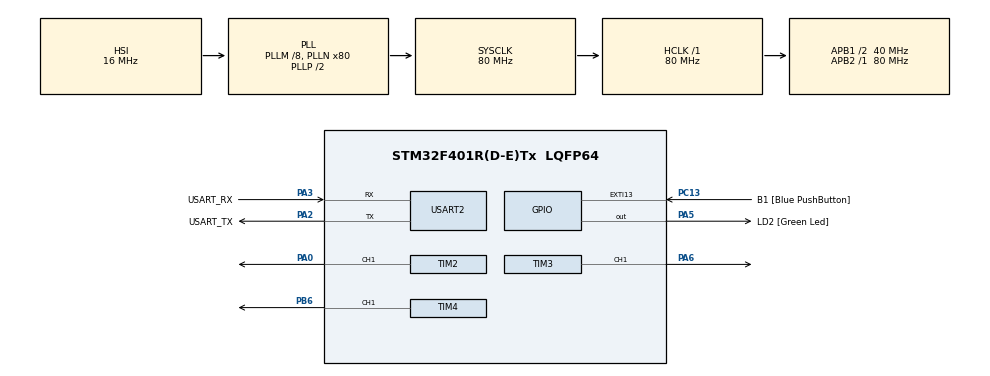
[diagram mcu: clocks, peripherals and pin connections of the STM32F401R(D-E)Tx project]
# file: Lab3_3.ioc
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Mcu.Family=STM32F4
Mcu.Name=STM32F401R(D-E)Tx
Mcu.Package=LQFP64
NVIC.EXTI15_10_IRQn=true\:0\:0\:false\:false\:true\:true\:true
NVIC.PriorityGroup=NVIC_PRIORITYGROUP_0
NVIC.TIM2_IRQn=true\:0\:0\:false\:false\:true\:true\:true
NVIC.TIM3_IRQn=true\:0\:0\:false\:false\:true\:true\:true
NVIC.TIM4_IRQn=true\:0\:0\:false\:false\:true\:true\:true
PA0-WKUP.Signal=S_TIM2_CH1_ETR
PA13.GPIO_Label=TMS
PA13.Mode=Serial_Wire
PA13.Signal=SYS_JTMS-SWDIO
PA14.GPIO_Label=TCK
PA14.Mode=Serial_Wire
PA14.Signal=SYS_JTCK-SWCLK
PA2.GPIO_Label=USART_TX
PA2.GPIO_Mode=GPIO_MODE_AF_PP
PA2.GPIO_PuPd=GPIO_NOPULL
PA2.GPIO_Speed=GPIO_SPEED_FREQ_LOW
PA2.Mode=Asynchronous
PA2.Signal=USART2_TX
PA3.GPIO_Label=USART_RX
PA3.GPIO_Mode=GPIO_MODE_AF_PP
PA3.GPIO_PuPd=GPIO_NOPULL
PA3.GPIO_Speed=GPIO_SPEED_FREQ_LOW
PA3.Mode=Asynchronous
PA3.Signal=USART2_RX
PA5.GPIO_Label=LD2 [Green Led]
PA5.GPIO_Mode=GPIO_MODE_OUTPUT_PP
PA5.GPIO_PuPd=GPIO_NOPULL
PA5.GPIO_Speed=GPIO_SPEED_FREQ_LOW
PA5.Signal=GPIO_Output
PA6.Signal=S_TIM3_CH1
PB3.GPIO_Label=SWO
PB3.Signal=SYS_JTDO-SWO
PB6.Signal=S_TIM4_CH1
PC13-ANTI_TAMP.GPIO_Label=B1 [Blue PushButton]
PC13-ANTI_TAMP.GPIO_ModeDefaultEXTI=GPIO_MODE_IT_FALLING
PC13-ANTI_TAMP.GPIO_PuPd=GPIO_NOPULL
PC13-ANTI_TAMP.Signal=GPXTI13
PC14-OSC32_IN.Mode=LSE-External-Oscillator
PC14-OSC32_IN.Signal=RCC_OSC32_IN
PC15-OSC32_OUT.Mode=LSE-External-Oscillator
PC15-OSC32_OUT.Signal=RCC_OSC32_OUT
PH0\ -\ OSC_IN.Mode=HSE-External-Clock-Source
PH0\ -\ OSC_IN.Signal=RCC_OSC_IN
PH1\ -\ OSC_OUT.Mode=HSE-External-Clock-Source
PH1\ -\ OSC_OUT.Signal=RCC_OSC_OUT
ProjectManager.HeapSize=0x200
ProjectManager.StackSize=0x400
ProjectManager.TargetToolchain=STM32CubeIDE
RCC.48MHZClocksFreq_Value=22857142.85714286
RCC.AHBFreq_Value=80000000
RCC.APB1CLKDivider=RCC_HCLK_DIV2
RCC.APB1Freq_Value=40000000
RCC.APB1TimFreq_Value=80000000
RCC.APB2Freq_Value=80000000
RCC.APB2TimFreq_Value=80000000
RCC.CortexFreq_Value=80000000
RCC.HCLKFreq_Value=80000000
RCC.HSE_VALUE=8000000
RCC.HSI_VALUE=16000000
RCC.PLLM=8
RCC.PLLN=80
RCC.PLLQ=7
RCC.SYSCLKFreq_VALUE=80000000
RCC.SYSCLKSource=RCC_SYSCLKSOURCE_PLLCLK
RCC.VCOOutputFreq_Value=160000000
SH.S_TIM2_CH1_ETR.0=TIM2_CH1,PWM Generation1 CH1
SH.S_TIM3_CH1.0=TIM3_CH1,PWM Generation1 CH1
SH.S_TIM4_CH1.0=TIM4_CH1,PWM Generation1 CH1
TIM2.AutoReloadPreload=TIM_AUTORELOAD_PRELOAD_DISABLE
TIM2.Channel-PWM\ Generation1\ CH1=TIM_CHANNEL_1
TIM2.Period=5000-1
TIM2.Prescaler=8000-1
TIM3.AutoReloadPreload=TIM_AUTORELOAD_PRELOAD_DISABLE
TIM3.Channel-PWM\ Generation1\ CH1=TIM_CHANNEL_1
TIM3.Period=4905-1
TIM3.Prescaler=8000-1
TIM4.AutoReloadPreload=TIM_AUTORELOAD_PRELOAD_DISABLE
TIM4.Channel-PWM\ Generation1\ CH1=TIM_CHANNEL_1
TIM4.Period=9999-1
TIM4.Prescaler=8000-1
USART2.VirtualMode=VM_ASYNC
VP_TIM2_VS_ClockSourceINT.Mode=Internal
VP_TIM3_VS_ClockSourceINT.Mode=Internal
VP_TIM4_VS_ClockSourceINT.Mode=Internal
board=NUCLEO-F401RE

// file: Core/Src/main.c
/* USER CODE BEGIN Header */
/**
  ******************************************************************************
  * @file           : main.c
  * @brief          : Main program body
  ******************************************************************************
  * @attention
  *
  * Copyright (c) 2022 STMicroelectronics.
  * All rights reserved.
  *
  * This software is licensed under terms that can be found in the LICENSE file
  * in the root directory of this software component.
  * If no LICENSE file comes with this software, it is provided AS-IS.
  *
  ******************************************************************************
  */
/* USER CODE END Header */
#include "main.h"

TIM_HandleTypeDef htim2;
TIM_HandleTypeDef htim3;
TIM_HandleTypeDef htim4;

UART_HandleTypeDef huart2;

void SystemClock_Config(void);
static void MX_GPIO_Init(void);
static void MX_USART2_UART_Init(void);
static void MX_TIM2_Init(void);
static void MX_TIM3_Init(void);
static void MX_TIM4_Init(void);

/* USER CODE BEGIN 0 */

int counterR = 0; //500ms period
int counterG = 0; //490.5ms period

char r[4] = "RED ";
char g[6] = "GREEN ";

void HAL_TIM_PeriodElapsedCallback(TIM_HandleTypeDef *htim) {
	if (htim->Instance == TIM2) {
		counterR++;
		//HAL_UART_Transmit(&huart2, &r, sizeof(r), HAL_MAX_DELAY);
	}
	if (htim->Instance == TIM3) {
		counterG++;
		HAL_GPIO_TogglePin(LD2_GPIO_Port,LD2_Pin);
		//HAL_UART_Transmit(&huart2, &g, sizeof(g), HAL_MAX_DELAY);
	}
	if (htim->Instance == TIM4) {
		char buffer[20];
		sprintf(buffer, "%d %d\r\n", counterR, counterG);
		HAL_UART_Transmit(&huart2, &buffer, strlen(buffer), HAL_MAX_DELAY);
	}
}

/* USER CODE END 0 */

int main(void)
{

  /* MCU Configuration--------------------------------------------------------*/

  /* Reset of all peripherals, Initializes the Flash interface and the Systick. */
  HAL_Init();

  /* Configure the system clock */
  SystemClock_Config();

  /* Initialize all configured peripherals */
  MX_GPIO_Init();
  MX_USART2_UART_Init();
  MX_TIM2_Init();
  MX_TIM3_Init();
  MX_TIM4_Init();
  /* USER CODE BEGIN 2 */
  HAL_TIM_Base_Start_IT(&htim2);
  HAL_TIM_Base_Start_IT(&htim3);
  HAL_TIM_Base_Start_IT(&htim4);
  /* USER CODE END 2 */

  /* Infinite loop */
  while (1)
  {

  }
}

void SystemClock_Config(void)
{
  RCC_OscInitTypeDef RCC_OscInitStruct = {0};
  RCC_ClkInitTypeDef RCC_ClkInitStruct = {0};

  /** Configure the main internal regulator output voltage
  */
  __HAL_RCC_PWR_CLK_ENABLE();
  __HAL_PWR_VOLTAGESCALING_CONFIG(PWR_REGULATOR_VOLTAGE_SCALE2);
  /** Initializes the RCC Oscillators according to the specified parameters
  * in the RCC_OscInitTypeDef structure.
  */
  RCC_OscInitStruct.OscillatorType = RCC_OSCILLATORTYPE_HSI;
  RCC_OscInitStruct.HSIState = RCC_HSI_ON;
  RCC_OscInitStruct.HSICalibrationValue = RCC_HSICALIBRATION_DEFAULT;
  RCC_OscInitStruct.PLL.PLLState = RCC_PLL_ON;
  RCC_OscInitStruct.PLL.PLLSource = RCC_PLLSOURCE_HSI;
  RCC_OscInitStruct.PLL.PLLM = 8;
  RCC_OscInitStruct.PLL.PLLN = 80;
  RCC_OscInitStruct.PLL.PLLP = RCC_PLLP_DIV2;
  RCC_OscInitStruct.PLL.PLLQ = 7;
  if (HAL_RCC_OscConfig(&RCC_OscInitStruct) != HAL_OK)
  {
    Error_Handler();
  }
  /** Initializes the CPU, AHB and APB buses clocks
  */
  RCC_ClkInitStruct.ClockType = RCC_CLOCKTYPE_HCLK|RCC_CLOCKTYPE_SYSCLK
                              |RCC_CLOCKTYPE_PCLK1|RCC_CLOCKTYPE_PCLK2;
  RCC_ClkInitStruct.SYSCLKSource = RCC_SYSCLKSOURCE_PLLCLK;
  RCC_ClkInitStruct.AHBCLKDivider = RCC_SYSCLK_DIV1;
  RCC_ClkInitStruct.APB1CLKDivider = RCC_HCLK_DIV2;
  RCC_ClkInitStruct.APB2CLKDivider = RCC_HCLK_DIV1;

  if (HAL_RCC_ClockConfig(&RCC_ClkInitStruct, FLASH_LATENCY_2) != HAL_OK)
  {
    Error_Handler();
  }
}

static void MX_TIM2_Init(void)
{

  TIM_ClockConfigTypeDef sClockSourceConfig = {0};
  TIM_MasterConfigTypeDef sMasterConfig = {0};
  TIM_OC_InitTypeDef sConfigOC = {0};

  htim2.Instance = TIM2;
  htim2.Init.Prescaler = 8000-1;
  htim2.Init.CounterMode = TIM_COUNTERMODE_UP;
  htim2.Init.Period = 5000-1;
  htim2.Init.ClockDivision = TIM_CLOCKDIVISION_DIV1;
  htim2.Init.AutoReloadPreload = TIM_AUTORELOAD_PRELOAD_DISABLE;
  if (HAL_TIM_Base_Init(&htim2) != HAL_OK)
  {
    Error_Handler();
  }
  sClockSourceConfig.ClockSource = TIM_CLOCKSOURCE_INTERNAL;
  if (HAL_TIM_ConfigClockSource(&htim2, &sClockSourceConfig) != HAL_OK)
  {
    Error_Handler();
  }
  if (HAL_TIM_PWM_Init(&htim2) != HAL_OK)
  {
    Error_Handler();
  }
  sMasterConfig.MasterOutputTrigger = TIM_TRGO_RESET;
  sMasterConfig.MasterSlaveMode = TIM_MASTERSLAVEMODE_DISABLE;
  if (HAL_TIMEx_MasterConfigSynchronization(&htim2, &sMasterConfig) != HAL_OK)
  {
    Error_Handler();
  }
  sConfigOC.OCMode = TIM_OCMODE_PWM1;
  sConfigOC.Pulse = 0;
  sConfigOC.OCPolarity = TIM_OCPOLARITY_HIGH;
  sConfigOC.OCFastMode = TIM_OCFAST_DISABLE;
  if (HAL_TIM_PWM_ConfigChannel(&htim2, &sConfigOC, TIM_CHANNEL_1) != HAL_OK)
  {
    Error_Handler();
  }
  HAL_TIM_MspPostInit(&htim2);

}

static void MX_TIM3_Init(void)
{

  TIM_ClockConfigTypeDef sClockSourceConfig = {0};
  TIM_MasterConfigTypeDef sMasterConfig = {0};
  TIM_OC_InitTypeDef sConfigOC = {0};

  htim3.Instance = TIM3;
  htim3.Init.Prescaler = 8000-1;
  htim3.Init.CounterMode = TIM_COUNTERMODE_UP;
  htim3.Init.Period = 4905-1;
  htim3.Init.ClockDivision = TIM_CLOCKDIVISION_DIV1;
  htim3.Init.AutoReloadPreload = TIM_AUTORELOAD_PRELOAD_DISABLE;
  if (HAL_TIM_Base_Init(&htim3) != HAL_OK)
  {
    Error_Handler();
  }
  sClockSourceConfig.ClockSource = TIM_CLOCKSOURCE_INTERNAL;
  if (HAL_TIM_ConfigClockSource(&htim3, &sClockSourceConfig) != HAL_OK)
  {
    Error_Handler();
  }
  if (HAL_TIM_PWM_Init(&htim3) != HAL_OK)
  {
    Error_Handler();
  }
  sMasterConfig.MasterOutputTrigger = TIM_TRGO_RESET;
  sMasterConfig.MasterSlaveMode = TIM_MASTERSLAVEMODE_DISABLE;
  if (HAL_TIMEx_MasterConfigSynchronization(&htim3, &sMasterConfig) != HAL_OK)
  {
    Error_Handler();
  }
  sConfigOC.OCMode = TIM_OCMODE_PWM1;
  sConfigOC.Pulse = 0;
  sConfigOC.OCPolarity = TIM_OCPOLARITY_HIGH;
  sConfigOC.OCFastMode = TIM_OCFAST_DISABLE;
  if (HAL_TIM_PWM_ConfigChannel(&htim3, &sConfigOC, TIM_CHANNEL_1) != HAL_OK)
  {
    Error_Handler();
  }
  HAL_TIM_MspPostInit(&htim3);

}

static void MX_TIM4_Init(void)
{

  TIM_ClockConfigTypeDef sClockSourceConfig = {0};
  TIM_MasterConfigTypeDef sMasterConfig = {0};
  TIM_OC_InitTypeDef sConfigOC = {0};

  htim4.Instance = TIM4;
  htim4.Init.Prescaler = 8000-1;
  htim4.Init.CounterMode = TIM_COUNTERMODE_UP;
  htim4.Init.Period = 9999-1;
  htim4.Init.ClockDivision = TIM_CLOCKDIVISION_DIV1;
  htim4.Init.AutoReloadPreload = TIM_AUTORELOAD_PRELOAD_DISABLE;
  if (HAL_TIM_Base_Init(&htim4) != HAL_OK)
  {
    Error_Handler();
  }
  sClockSourceConfig.ClockSource = TIM_CLOCKSOURCE_INTERNAL;
  if (HAL_TIM_ConfigClockSource(&htim4, &sClockSourceConfig) != HAL_OK)
  {
    Error_Handler();
  }
  if (HAL_TIM_PWM_Init(&htim4) != HAL_OK)
  {
    Error_Handler();
  }
  sMasterConfig.MasterOutputTrigger = TIM_TRGO_RESET;
  sMasterConfig.MasterSlaveMode = TIM_MASTERSLAVEMODE_DISABLE;
  if (HAL_TIMEx_MasterConfigSynchronization(&htim4, &sMasterConfig) != HAL_OK)
  {
    Error_Handler();
  }
  sConfigOC.OCMode = TIM_OCMODE_PWM1;
  sConfigOC.Pulse = 0;
  sConfigOC.OCPolarity = TIM_OCPOLARITY_HIGH;
  sConfigOC.OCFastMode = TIM_OCFAST_DISABLE;
  if (HAL_TIM_PWM_ConfigChannel(&htim4, &sConfigOC, TIM_CHANNEL_1) != HAL_OK)
  {
    Error_Handler();
  }
  HAL_TIM_MspPostInit(&htim4);

}

static void MX_USART2_UART_Init(void)
{

  huart2.Instance = USART2;
  huart2.Init.BaudRate = 115200;
  huart2.Init.WordLength = UART_WORDLENGTH_8B;
  huart2.Init.StopBits = UART_STOPBITS_1;
  huart2.Init.Parity = UART_PARITY_NONE;
  huart2.Init.Mode = UART_MODE_TX_RX;
  huart2.Init.HwFlowCtl = UART_HWCONTROL_NONE;
  huart2.Init.OverSampling = UART_OVERSAMPLING_16;
  if (HAL_UART_Init(&huart2) != HAL_OK)
  {
    Error_Handler();
  }

}

static void MX_GPIO_Init(void)
{
  GPIO_InitTypeDef GPIO_InitStruct = {0};

  /* GPIO Ports Clock Enable */
  __HAL_RCC_GPIOC_CLK_ENABLE();
  __HAL_RCC_GPIOH_CLK_ENABLE();
  __HAL_RCC_GPIOA_CLK_ENABLE();
  __HAL_RCC_GPIOB_CLK_ENABLE();

  /*Configure GPIO pin Output Level */
  HAL_GPIO_WritePin(LD2_GPIO_Port, LD2_Pin, GPIO_PIN_RESET);

  /*Configure GPIO pin : B1_Pin */
  GPIO_InitStruct.Pin = B1_Pin;
  GPIO_InitStruct.Mode = GPIO_MODE_IT_FALLING;
  GPIO_InitStruct.Pull = GPIO_NOPULL;
  HAL_GPIO_Init(B1_GPIO_Port, &GPIO_InitStruct);

  /*Configure GPIO pin : LD2_Pin */
  GPIO_InitStruct.Pin = LD2_Pin;
  GPIO_InitStruct.Mode = GPIO_MODE_OUTPUT_PP;
  GPIO_InitStruct.Pull = GPIO_NOPULL;
  GPIO_InitStruct.Speed = GPIO_SPEED_FREQ_LOW;
  HAL_GPIO_Init(LD2_GPIO_Port, &GPIO_InitStruct);

  /* EXTI interrupt init*/
  HAL_NVIC_SetPriority(EXTI15_10_IRQn, 0, 0);
  HAL_NVIC_EnableIRQ(EXTI15_10_IRQn);

}

void Error_Handler(void)
{
  __disable_irq();
  while (1)
  {
  }
}
